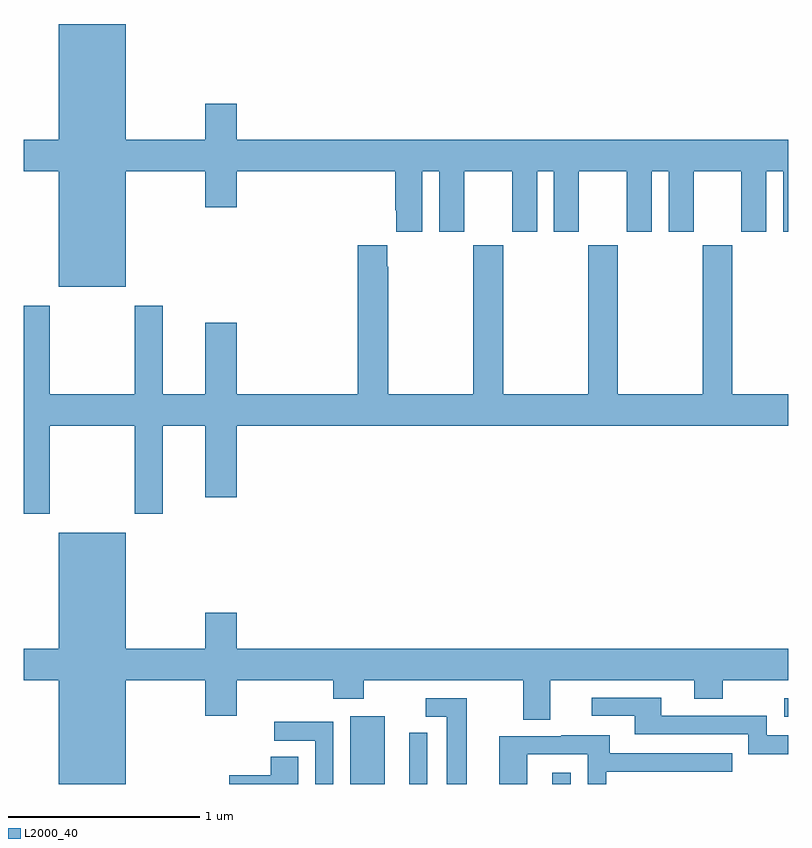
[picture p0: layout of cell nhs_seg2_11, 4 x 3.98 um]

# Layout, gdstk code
import gdstk
lib = gdstk.Library(unit=1e-6, precision=1e-09)
def R(c, l, rs):  # rectangles x0, y0, x1, y1
    for r in rs: c.add(gdstk.rectangle(r[:2], r[2:], *l))
def P(c, l, *ps):  # polygons
    for p in ps: c.add(gdstk.Polygon(p, *l))
L2000_40 = (2000, 40)

nhs_seg2_11 = lib.new_cell('nhs_seg2_11')
R(nhs_seg2_11, L2000_40, [(112.709,605.8,112.888,606.154), (113.765,605.8,113.862,605.86), (114.981,606.153,115,606.249)])
P(nhs_seg2_11, L2000_40, [(111.532,609.008),(111.95,609.008),(111.95,608.82),(112.114,608.82),(112.114,609.008),(112.943,609.008),(112.943,608.803),(112.949,608.803),(112.949,608.691),(113.086,608.691),(113.086,609.008),(113.174,609.008),(113.174,608.691),(113.305,608.691),(113.305,609.008),(113.555,609.008),(113.555,608.691),(113.686,608.691),(113.686,609.008),(113.774,609.008),(113.774,608.691),(113.905,608.691),(113.905,609.008),(114.155,609.008),(114.155,608.691),(114.286,608.691),(114.286,609.008),(114.374,609.008),(114.374,608.691),(114.505,608.691),(114.505,609.008),(114.755,609.008),(114.755,608.691),(114.886,608.691),(114.886,609.008),(114.974,609.008),(114.974,608.691),(115,608.691),(115,609.172),(112.114,609.172),(112.114,609.361),(111.95,609.361),(111.95,609.172),(111.532,609.172),(111.532,609.778),(111.182,609.778),(111.182,609.172),(111,609.172),(111,609.008),(111.182,609.008),(111.182,608.402),(111.532,608.402)],
  [(111.135,607.676),(111.58,607.676),(111.58,607.215),(111.727,607.215),(111.727,607.676),(111.95,607.676),(111.95,607.302),(112.114,607.302),(112.114,607.676),(115,607.676),(115,607.84),(114.708,607.84),(114.708,608.62),(114.553,608.62),(114.553,607.84),(114.108,607.84),(114.108,608.62),(113.953,608.62),(113.953,607.84),(113.508,607.84),(113.508,608.62),(113.353,608.62),(113.353,607.84),(112.908,607.84),(112.908,608.507),(112.903,608.507),(112.903,608.62),(112.748,608.62),(112.748,607.84),(112.114,607.84),(112.114,608.215),(111.95,608.215),(111.95,607.84),(111.727,607.84),(111.727,608.302),(111.58,608.302),(111.58,607.84),(111.135,607.84),(111.135,608.302),(111,608.302),(111,607.215),(111.135,607.215)],
  [(111.532,606.344),(111.95,606.344),(111.95,606.156),(112.114,606.156),(112.114,606.344),(112.619,606.344),(112.619,606.245),(112.779,606.245),(112.779,606.344),(113.615,606.344),(113.615,606.136),(113.755,606.136),(113.755,606.344),(114.509,606.344),(114.509,606.245),(114.657,606.245),(114.657,606.344),(115,606.344),(115,606.508),(112.114,606.508),(112.114,606.697),(111.95,606.697),(111.95,606.508),(111.532,606.508),(111.532,607.114),(111.182,607.114),(111.182,606.508),(111,606.508),(111,606.344),(111.182,606.344),(111.182,605.8),(111.532,605.8)],
  [(115,606.054),(114.888,606.054),(114.888,606.156),(114.337,606.156),(114.337,606.252),(113.973,606.252),(113.973,606.156),(114.197,606.156),(114.197,606.06),(114.792,606.06),(114.792,605.957),(115,605.957)],
  [(113.317,606.249),(113.103,606.249),(113.103,606.153),(113.213,606.153),(113.213,605.8),(113.317,605.8)],
  [(112.62,606.126),(112.311,606.126),(112.311,606.027),(112.524,606.027),(112.524,605.8),(112.62,605.8)],
  [(113.112,606.068),(113.016,606.068),(113.016,605.914),(113.018,605.914),(113.018,605.8),(113.112,605.8)],
  [(113.634,605.955),(113.952,605.955),(113.952,605.8),(114.048,605.8),(114.048,605.865),(114.707,605.865),(114.707,605.961),(114.067,605.961),(114.067,606.055),(113.813,606.055),(113.813,606.051),(113.489,606.051),(113.489,605.8),(113.634,605.8)],
  [(112.435,605.942),(112.292,605.942),(112.292,605.847),(112.074,605.847),(112.074,605.8),(112.435,605.8)])

lib.write_gds('nhs_seg2_11.gds')
